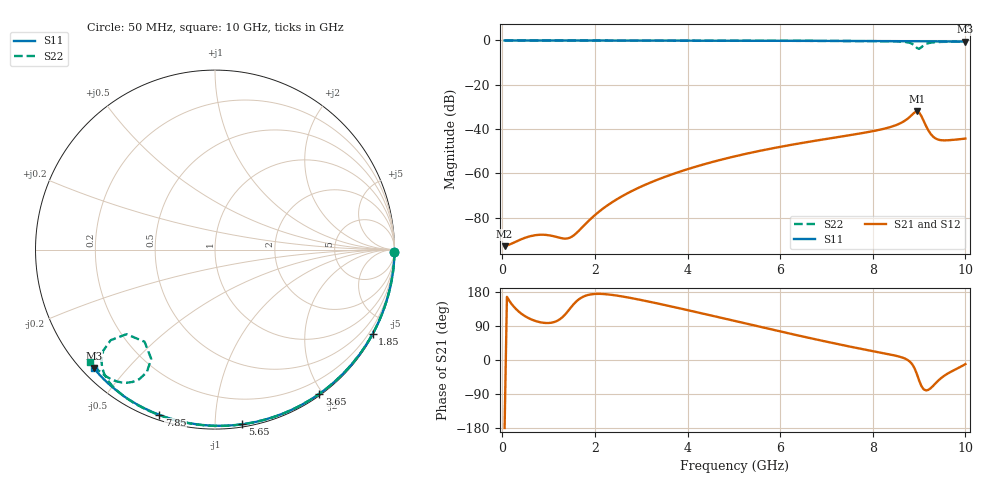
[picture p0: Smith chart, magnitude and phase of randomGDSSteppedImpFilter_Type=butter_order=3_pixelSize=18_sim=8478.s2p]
! freq	dB(S11)	phase(S11)	dB(S12)	phase(S12)
!  dB(S21)	phase(S21)	dB(S22)	phase(S22)
!S-par simulation data
#  GHz  S  DB  R 50
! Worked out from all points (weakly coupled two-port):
!   200 points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, 50 MHz to 10 GHz, reference 50 ohm
!   highest |S21| = -31.99 dB at 8.95 GHz (marker M1); lowest = -92.8 dB at 50 MHz (marker M2)
!   lowest |S11| = -0.5 dB at 10 GHz (marker M3), VSWR 34.58, Z = 1.69 - j20.4 ohm
!   |S11| at or under -10 dB: nowhere
!   |S22| runs from -3.8 to 0.0 dB; largest |S21 - S12| = 0
!   S11 on the Smith chart (normalised r, x): 50 MHz: open; 1.85 GHz: 0.03, -4.00; 3.65 GHz: 0.02, -1.96; 5.65 GHz: 0.02, -1.17; 7.85 GHz: 0.02, -0.72; 10 GHz: 0.03, -0.41
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0.05  -0.00 -0.8  -92.78 -179.4  -92.78 -179.4  -0.00 -0.8
1.75  -0.03 -26.6  -83.74 167.2  -83.74 167.2  -0.04 -28.2
1.85  -0.04 -28.1  -81.65 171.6  -81.65 171.6  -0.04 -29.8
1.95  -0.04 -29.6  -79.69 173.8  -79.69 173.8  -0.04 -31.3
2.25  -0.04 -34.0  -74.68 173.4  -74.68 173.4  -0.05 -36.0
2.65  -0.05 -39.8  -69.51 166.4  -69.51 166.4  -0.05 -42.2
3.4  -0.07 -50.6  -62.40 148.0  -62.40 148.0  -0.07 -53.6
3.65  -0.07 -54.1  -60.49 141.3  -60.49 141.3  -0.08 -57.3
5.05  -0.11 -73.3  -52.12 102.2  -52.12 102.2  -0.12 -77.6
5.65  -0.13 -81.1  -49.41 85.2  -49.41 85.2  -0.14 -85.9
6.7  -0.18 -94.5  -45.43 56.3  -45.43 56.3  -0.19 -100.2
7.85  -0.25 -108.6  -41.50 26.9  -41.50 26.9  -0.28 -116.0
8.35  -0.29 -114.6  -39.24 15.1  -39.24 15.1  -0.37 -123.8
8.65  -0.32 -118.3  -36.74 6.1  -36.74 6.1  -0.58 -130.5
8.8  -0.33 -120.1  -34.46 -4.2  -34.46 -4.2  -1.08 -135.8
8.9  -0.33 -121.4  -32.53 -21.3  -32.53 -21.3  -2.27 -139.0
8.95  -0.34 -122.0  -31.99 -36.2  -31.99 -36.2  -3.32 -136.3
9.05  -0.36 -123.2  -34.11 -68.7  -34.11 -68.7  -3.05 -120.3
9.2  -0.38 -125.0  -40.55 -78.7  -40.55 -78.7  -1.21 -122.0
9.35  -0.39 -126.9  -44.13 -62.3  -44.13 -62.3  -0.78 -126.5
9.55  -0.42 -129.5  -45.06 -41.0  -45.06 -41.0  -0.62 -130.8
10  -0.50 -135.7  -44.23 -10.8  -44.23 -10.8  -0.58 -138.2
